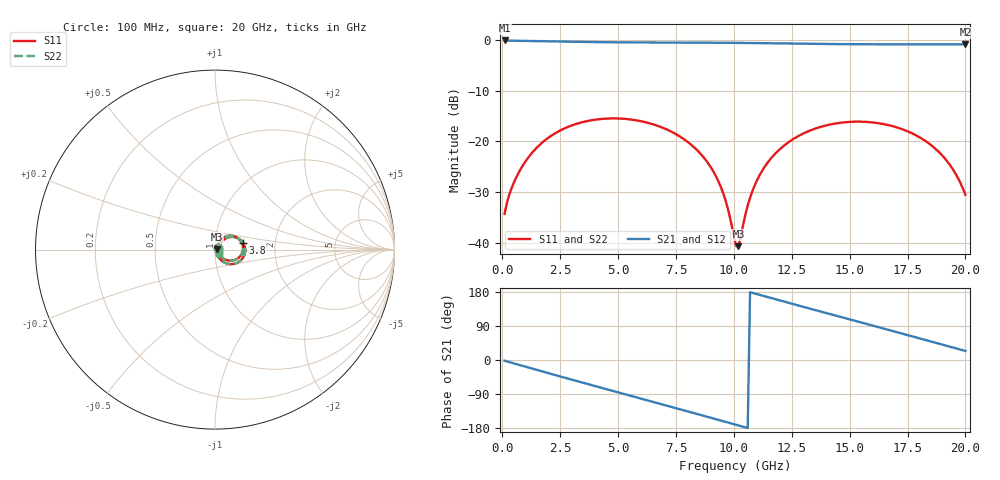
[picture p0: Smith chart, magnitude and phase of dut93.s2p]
! Touchstone file exported from HFSS 2026.1.0
!  File:  C:/ffzhzh/LocalFiles/Ansys_Project_Files/temp_train_TSV_RDL_93_1782973209_45748.aedt
!  Generated:  02:31:42 PM Jul  2, 2026
!  Design:  TSV_RDL
!  Project:  temp_train_TSV_RDL_93_1782973209_45748
! Variables:
!  h_bsmrdl = 4.42um
!  h_ox = 20um
!  h_rdl = 5um
!  h_sub = 51.48um
!  h_tmrdl = 4.94um
!  h_tsv = 51.48um
!  h_via = 3um
!  l_bsmrdl = 607.35um
!  l_sub = 5983.17um
!  l_tmrdl = 901.7um
!  m_sub = 200um
!  pitch = 35.67um
!  r_tsv = 14.08um
!  s_tmrdl = 10um
!  w_bsmrdl = 24.83um
!  w_sub = 500um
!  w_tmrdl = 26.61um
!  x_tsv_center1 = 915.005um
!  x_tsv_center2 = 1547.185um
!  x_tsv_center3 = 2475.495um
!  x_tsv_center4 = 3107.675um
!  x_tsv_center5 = 4035.985um
!  x_tsv_center6 = 4668.165um
# GHz S MA R 50.000000
! Terminal data exported
! Port[1] = TM_RDL1_1_T1
! Port[2] = TM_RDL5_1_T1
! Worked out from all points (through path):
!   200 points, 100 MHz to 20 GHz, reference 50 ohm
!   highest |S21| = -0.15 dB at 100 MHz (marker M1); lowest = -0.9 dB at 20 GHz (marker M2)
!   group delay of S21, straight-line fit = 46.5 ps
!   lowest |S11| = -40.6 dB at 10.2 GHz (marker M3), VSWR 1.02, Z = 50.9 + j0.223 ohm
!   |S11| at or under -10 dB: start of sweep to end of sweep
!   |S22| runs from -40.3 to -15.5 dB; largest |S21 - S12| = 1.2e-13
!   S11 on the Smith chart (normalised r, x): 100 MHz: 1.04, +0.02; 3.8 GHz: 1.37, +0.10; 20 GHz: 1.04, -0.04
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0.1  0.01942 25.1  0.9827 -1.9  0.9827 -1.9  0.01942 25.1
! Gamma 0 0 0 0
! Port Impedance 50 0 50 0
0.5  0.03937 45.5  0.9765 -9.0  0.9765 -9.0  0.03937 45.5
1.3  0.078 47.4  0.9705 -22.8  0.9705 -22.8  0.07799 47.4
2.3  0.1209 35.8  0.9615 -40.0  0.9615 -40.0  0.1209 35.8
3.5  0.1554 18.0  0.9508 -60.3  0.9508 -60.3  0.1554 18.0
3.8  0.1607 13.4  0.9485 -65.3  0.9485 -65.3  0.1607 13.4
5.3  0.1665 -9.9  0.9407 -90.3  0.9407 -90.3  0.1665 -9.9
6.8  0.1399 -32.9  0.9378 -115.3  0.9378 -115.3  0.1399 -32.9
8.1  0.09515 -51.9  0.9365 -137.2  0.9365 -137.2  0.09509 -51.8
9  0.05598 -62.6  0.9348 -152.4  0.9348 -152.4  0.05594 -62.3
9.6  0.02824 -62.9  0.9329 -162.6  0.9329 -162.6  0.02825 -62.3
10.1  0.009374 -14.9  0.9308 -171.0  0.9308 -171.0  0.009635 -14.1
10.2  0.009348 13.5  0.9303 -172.7  0.9303 -172.7  0.009649 13.5
10.7  0.02794 61.9  0.9277 178.8  0.9277 178.8  0.0281 61.3
11.3  0.05495 61.7  0.924 168.7  0.924 168.7  0.05506 61.3
12.2  0.09225 51.2  0.9179 153.6  0.9179 153.6  0.09232 51.0
13.4  0.1308 34.0  0.9101 133.6  0.9101 133.6  0.1309 33.9
15.1  0.156 8.6  0.9026 105.6  0.9026 105.6  0.156 8.5
16.7  0.1443 -15.2  0.9007 79.2  0.9007 79.2  0.1442 -15.3
18.7  0.08498 -42.6  0.9016 45.8  0.9016 45.8  0.08492 -42.7
19.4  0.05581 -48.6  0.9012 34.0  0.9012 34.0  0.05576 -48.6
20  0.02989 -44.4  0.9003 23.8  0.9003 23.8  0.02988 -44.3
